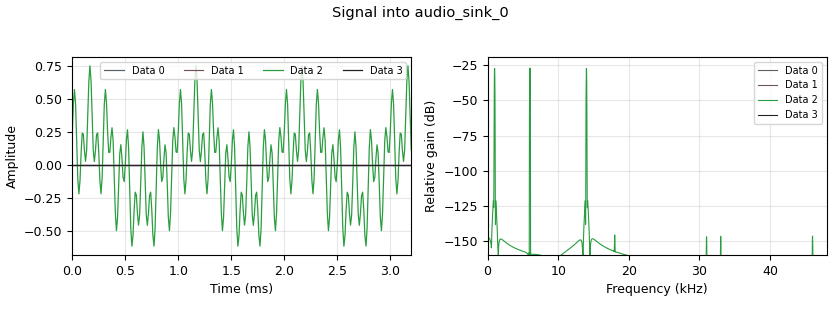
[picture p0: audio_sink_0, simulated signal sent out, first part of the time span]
<?xml version='1.0' encoding='utf-8'?>
<?grc format='1' created='3.7.13'?>
<flow_graph>
<block>
<key>options</key>
<param><key>id</key><value>phadiff_measure_gui</value></param>
<param><key>generate_options</key><value>qt_gui</value></param>
</block>
<block>
<key>variable_qtgui_chooser</key>
<param><key>id</key><value>PRI_CH</value></param>
<param><key>value</key><value>0</value></param>
<param><key>gui_hint</key><value>0,0,1,1</value></param>
<param><key>label0</key><value>Left</value></param>
<param><key>label1</key><value>Right</value></param>
<param><key>label</key><value>Measurement channel</value></param>
<param><key>num_opts</key><value>2</value></param>
<param><key>option0</key><value>0</value></param>
<param><key>option1</key><value>1</value></param>
<param><key>type</key><value>int</value></param>
</block>
<block>
<key>variable_qtgui_range</key>
<param><key>id</key><value>calc_len</value></param>
<param><key>value</key><value>256</value></param>
<param><key>gui_hint</key><value>1,0,1,3</value></param>
<param><key>label</key><value>Calc Len</value></param>
<param><key>orient</key><value>Qt.Horizontal</value></param>
<param><key>start</key><value>16</value></param>
<param><key>step</key><value>8</value></param>
<param><key>stop</key><value>2048</value></param>
<param><key>rangeType</key><value>int</value></param>
</block>
<block>
<key>variable</key>
<param><key>id</key><value>fvec</value></param>
<param><key>value</key><value>[1000., 6000., 14000]</value></param>
</block>
<block>
<key>variable_qtgui_range</key>
<param><key>id</key><value>gui_bal</value></param>
<param><key>value</key><value>0</value></param>
<param><key>gui_hint</key><value>4,0,1,3</value></param>
<param><key>label</key><value>Balance</value></param>
<param><key>orient</key><value>Qt.Horizontal</value></param>
<param><key>start</key><value>0</value></param>
<param><key>step</key><value>.5</value></param>
<param><key>stop</key><value>30</value></param>
</block>
<block>
<key>variable_qtgui_range</key>
<param><key>id</key><value>gui_comp</value></param>
<param><key>value</key><value>0</value></param>
<param><key>gui_hint</key><value>3,0,1,3</value></param>
<param><key>label</key><value>Digital Gain [dB]</value></param>
<param><key>orient</key><value>Qt.Horizontal</value></param>
<param><key>start</key><value>-20</value></param>
<param><key>step</key><value>.1</value></param>
<param><key>stop</key><value>20</value></param>
</block>
<block>
<key>variable_qtgui_range</key>
<param><key>id</key><value>gui_fc</value></param>
<param><key>value</key><value>3000</value></param>
<param><key>gui_hint</key><value>2,0,1,3</value></param>
<param><key>label</key><value>Center freq</value></param>
<param><key>orient</key><value>Qt.Horizontal</value></param>
<param><key>start</key><value>0</value></param>
<param><key>step</key><value>100</value></param>
<param><key>stop</key><value>24000</value></param>
</block>
<block>
<key>variable</key>
<param><key>id</key><value>neps</value></param>
<param><key>value</key><value>21</value></param>
</block>
<block>
<key>variable</key>
<param><key>id</key><value>samp_rate</value></param>
<param><key>value</key><value>96000</value></param>
</block>
<block>
<key>analog_sig_source_x</key>
<param><key>id</key><value>analog_sig_source_x_0</value></param>
<param><key>amp</key><value>.25</value></param>
<param><key>freq</key><value>fvec[0]</value></param>
<param><key>offset</key><value>0</value></param>
<param><key>type</key><value>float</value></param>
<param><key>samp_rate</key><value>samp_rate</value></param>
<param><key>waveform</key><value>analog.GR_COS_WAVE</value></param>
</block>
<block>
<key>analog_sig_source_x</key>
<param><key>id</key><value>analog_sig_source_x_0_0</value></param>
<param><key>amp</key><value>.25</value></param>
<param><key>freq</key><value>fvec[1]</value></param>
<param><key>offset</key><value>0</value></param>
<param><key>type</key><value>float</value></param>
<param><key>samp_rate</key><value>samp_rate</value></param>
<param><key>waveform</key><value>analog.GR_COS_WAVE</value></param>
</block>
<block>
<key>analog_sig_source_x</key>
<param><key>id</key><value>analog_sig_source_x_0_0_0</value></param>
<param><key>amp</key><value>.25</value></param>
<param><key>freq</key><value>fvec[2]</value></param>
<param><key>offset</key><value>0</value></param>
<param><key>type</key><value>float</value></param>
<param><key>samp_rate</key><value>samp_rate</value></param>
<param><key>waveform</key><value>analog.GR_COS_WAVE</value></param>
</block>
<block>
<key>audio_sink</key>
<param><key>id</key><value>audio_sink_0</value></param>
<param><key>device_name</key><value>hw:USB,0</value></param>
<param><key>num_inputs</key><value>4</value></param>
<param><key>samp_rate</key><value>samp_rate</value></param>
</block>
<block>
<key>audio_source</key>
<param><key>id</key><value>audio_source_0</value></param>
<param><key>device_name</key><value>hw:USB,0</value></param>
<param><key>num_outputs</key><value>2</value></param>
<param><key>samp_rate</key><value>samp_rate</value></param>
</block>
<block>
<key>blocks_add_const_vxx</key>
<param><key>id</key><value>blocks_add_const_vxx_0</value></param>
<param><key>const</key><value>-(neps-1)/2</value></param>
<param><key>_enabled</key><value>0</value></param>
<param><key>type</key><value>int</value></param>
</block>
<block>
<key>blocks_add_xx</key>
<param><key>id</key><value>blocks_add_xx_0</value></param>
<param><key>type</key><value>float</value></param>
<param><key>num_inputs</key><value>len(fvec)</value></param>
</block>
<block>
<key>blocks_complex_to_mag</key>
<param><key>id</key><value>blocks_complex_to_mag_0_0</value></param>
<param><key>vlen</key><value>len(fvec)</value></param>
</block>
<block>
<key>blocks_divide_xx</key>
<param><key>id</key><value>blocks_divide_xx_0</value></param>
<param><key>_enabled</key><value>0</value></param>
<param><key>type</key><value>float</value></param>
</block>
<block>
<key>blocks_int_to_float</key>
<param><key>id</key><value>blocks_int_to_float_0</value></param>
<param><key>_enabled</key><value>0</value></param>
<param><key>scale</key><value>1</value></param>
</block>
<block>
<key>blocks_multiply_const_vxx</key>
<param><key>id</key><value>blocks_multiply_const_vxx_0</value></param>
<param><key>const</key><value>not PRI_CH</value></param>
<param><key>type</key><value>float</value></param>
</block>
<block>
<key>blocks_multiply_const_vxx</key>
<param><key>id</key><value>blocks_multiply_const_vxx_0_0</value></param>
<param><key>const</key><value>PRI_CH</value></param>
<param><key>type</key><value>float</value></param>
</block>
<block>
<key>blocks_multiply_const_xx</key>
<param><key>id</key><value>blocks_multiply_const_xx_0</value></param>
<param><key>const</key><value>10**((gui_comp+PRI_CH*gui_bal)*.1)</value></param>
<param><key>type</key><value>float</value></param>
</block>
<block>
<key>blocks_multiply_const_xx</key>
<param><key>id</key><value>blocks_multiply_const_xx_0_0</value></param>
<param><key>const</key><value>10**((gui_comp+(not PRI_CH)*gui_bal)*.1)</value></param>
<param><key>type</key><value>float</value></param>
</block>
<block>
<key>blocks_nlog10_ff</key>
<param><key>id</key><value>blocks_nlog10_ff_0</value></param>
<param><key>_enabled</key><value>0</value></param>
<param><key>k</key><value>0</value></param>
<param><key>n</key><value>10</value></param>
</block>
<block>
<key>blocks_nlog10_ff</key>
<param><key>id</key><value>blocks_nlog10_ff_0_0</value></param>
<param><key>_enabled</key><value>0</value></param>
<param><key>k</key><value>0</value></param>
<param><key>n</key><value>10</value></param>
</block>
<block>
<key>blocks_nlog10_ff</key>
<param><key>id</key><value>blocks_nlog10_ff_0_0_0</value></param>
<param><key>_enabled</key><value>0</value></param>
<param><key>k</key><value>0</value></param>
<param><key>n</key><value>-10</value></param>
</block>
<block>
<key>blocks_nlog10_ff</key>
<param><key>id</key><value>blocks_nlog10_ff_0_0_0_0</value></param>
<param><key>vlen</key><value>len(fvec)</value></param>
<param><key>k</key><value>0</value></param>
<param><key>n</key><value>10</value></param>
</block>
<block>
<key>blocks_null_sink</key>
<param><key>id</key><value>blocks_null_sink_0</value></param>
<param><key>bus_conns</key><value>[[0,],]</value></param>
<param><key>type</key><value>float</value></param>
<param><key>vlen</key><value>len(fvec)</value></param>
</block>
<block>
<key>blocks_null_source</key>
<param><key>id</key><value>blocks_null_source_0</value></param>
<param><key>bus_conns</key><value>[[0,],]</value></param>
<param><key>type</key><value>float</value></param>
</block>
<block>
<key>blocks_stream_to_vector_decimator</key>
<param><key>id</key><value>blocks_stream_to_vector_decimator_0</value></param>
<param><key>_enabled</key><value>2</value></param>
<param><key>type</key><value>float</value></param>
<param><key>sample_rate</key><value>samp_rate</value></param>
<param><key>vlen</key><value>calc_len</value></param>
<param><key>vec_rate</key><value>100</value></param>
</block>
<block>
<key>blocks_stream_to_vector_decimator</key>
<param><key>id</key><value>blocks_stream_to_vector_decimator_0_0</value></param>
<param><key>_enabled</key><value>0</value></param>
<param><key>type</key><value>float</value></param>
<param><key>sample_rate</key><value>samp_rate</value></param>
<param><key>vlen</key><value>calc_len</value></param>
<param><key>vec_rate</key><value>10</value></param>
</block>
<block>
<key>blocks_stream_to_vector_decimator</key>
<param><key>id</key><value>blocks_stream_to_vector_decimator_0_1</value></param>
<param><key>_enabled</key><value>2</value></param>
<param><key>type</key><value>float</value></param>
<param><key>sample_rate</key><value>samp_rate</value></param>
<param><key>vlen</key><value>calc_len</value></param>
<param><key>vec_rate</key><value>100</value></param>
</block>
<block>
<key>blocks_vector_to_stream</key>
<param><key>id</key><value>blocks_vector_to_stream_0</value></param>
<param><key>_enabled</key><value>2</value></param>
<param><key>type</key><value>float</value></param>
<param><key>num_items</key><value>calc_len</value></param>
</block>
<block>
<key>blocks_vector_to_stream</key>
<param><key>id</key><value>blocks_vector_to_stream_0_0</value></param>
<param><key>_enabled</key><value>0</value></param>
<param><key>type</key><value>float</value></param>
<param><key>num_items</key><value>calc_len</value></param>
</block>
<block>
<key>blocks_vector_to_stream</key>
<param><key>id</key><value>blocks_vector_to_stream_0_1</value></param>
<param><key>_enabled</key><value>2</value></param>
<param><key>type</key><value>float</value></param>
<param><key>num_items</key><value>calc_len</value></param>
</block>
<block>
<key>blocks_vector_to_streams</key>
<param><key>id</key><value>blocks_vector_to_streams_0_0</value></param>
<param><key>_enabled</key><value>0</value></param>
<param><key>type</key><value>float</value></param>
<param><key>num_streams</key><value>len(fvec)</value></param>
</block>
<block>
<key>blocks_vector_to_streams</key>
<param><key>id</key><value>blocks_vector_to_streams_0_0_0</value></param>
<param><key>_enabled</key><value>0</value></param>
<param><key>type</key><value>float</value></param>
<param><key>num_streams</key><value>len(fvec)</value></param>
</block>
<block>
<key>import</key>
<param><key>id</key><value>import_0</value></param>
<param><key>import</key><value>import numpy as np</value></param>
</block>
<block>
<key>qtgui_freq_sink_x</key>
<param><key>id</key><value>qtgui_freq_sink_x_0</value></param>
<param><key>bw</key><value>samp_rate</value></param>
<param><key>fc</key><value>0</value></param>
<param><key>fftsize</key><value>1024</value></param>
<param><key>gui_hint</key><value>tab@1</value></param>
<param><key>grid</key><value>True</value></param>
<param><key>label1</key><value>LEFT</value></param>
<param><key>label2</key><value>RIGHT</value></param>
<param><key>nconnections</key><value>2</value></param>
<param><key>showports</key><value>True</value></param>
<param><key>freqhalf</key><value>False</value></param>
<param><key>type</key><value>float</value></param>
<param><key>update_time</key><value>.25</value></param>
<param><key>wintype</key><value>firdes.WIN_BLACKMAN_hARRIS</value></param>
</block>
<block>
<key>qtgui_freq_sink_x</key>
<param><key>id</key><value>qtgui_freq_sink_x_0_0</value></param>
<param><key>bw</key><value>samp_rate/calc_len</value></param>
<param><key>fc</key><value>0</value></param>
<param><key>_enabled</key><value>0</value></param>
<param><key>fftsize</key><value>256</value></param>
<param><key>gui_hint</key><value>tab@3</value></param>
<param><key>grid</key><value>True</value></param>
<param><key>label1</key><value>LEFT</value></param>
<param><key>showports</key><value>True</value></param>
<param><key>freqhalf</key><value>False</value></param>
<param><key>type</key><value>float</value></param>
<param><key>update_time</key><value>.25</value></param>
<param><key>wintype</key><value>firdes.WIN_BLACKMAN_hARRIS</value></param>
</block>
<block>
<key>qtgui_number_sink</key>
<param><key>id</key><value>qtgui_number_sink_0</value></param>
<param><key>_enabled</key><value>0</value></param>
<param><key>gui_hint</key><value>0,3,1,2</value></param>
<param><key>graph_type</key><value>qtgui.NUM_GRAPH_VERT</value></param>
<param><key>type</key><value>float</value></param>
<param><key>label1</key><value>LOW</value></param>
<param><key>label2</key><value>HIGH</value></param>
<param><key>label3</key><value>DIFF</value></param>
<param><key>max</key><value>0</value></param>
<param><key>min</key><value>-40</value></param>
<param><key>name</key><value>"Amplitude"</value></param>
<param><key>nconnections</key><value>3</value></param>
</block>
<block>
<key>qtgui_number_sink</key>
<param><key>id</key><value>qtgui_number_sink_0_1</value></param>
<param><key>_enabled</key><value>0</value></param>
<param><key>gui_hint</key><value>1,3,2,2</value></param>
<param><key>graph_type</key><value>qtgui.NUM_GRAPH_VERT</value></param>
<param><key>type</key><value>float</value></param>
<param><key>label1</key><value>LOW</value></param>
<param><key>label2</key><value>HIGH</value></param>
<param><key>max</key><value>20000</value></param>
<param><key>min</key><value>0</value></param>
<param><key>name</key><value>"Freq"</value></param>
<param><key>nconnections</key><value>2</value></param>
</block>
<block>
<key>qtgui_time_sink_x</key>
<param><key>id</key><value>qtgui_time_sink_x_0</value></param>
<param><key>gui_hint</key><value>tab@0</value></param>
<param><key>color1</key><value>"blue"</value></param>
<param><key>label1</key><value>LEFT</value></param>
<param><key>color2</key><value>"red"</value></param>
<param><key>label2</key><value>RIGHT</value></param>
<param><key>name</key><value>"TIME"</value></param>
<param><key>nconnections</key><value>2</value></param>
<param><key>size</key><value>calc_len</value></param>
<param><key>srate</key><value>1</value></param>
<param><key>type</key><value>float</value></param>
<param><key>update_time</key><value>1</value></param>
</block>
<block>
<key>qtgui_time_sink_x</key>
<param><key>id</key><value>qtgui_time_sink_x_0_0</value></param>
<param><key>gui_hint</key><value>tab@2</value></param>
<param><key>color1</key><value>"blue"</value></param>
<param><key>label1</key><value>LEFT</value></param>
<param><key>name</key><value>"epsilon"</value></param>
<param><key>size</key><value>calc_len</value></param>
<param><key>srate</key><value>samp_rate/calc_len</value></param>
<param><key>type</key><value>float</value></param>
<param><key>update_time</key><value>1</value></param>
<param><key>ylabel</key><value>units</value></param>
<param><key>ymax</key><value>6</value></param>
<param><key>ymin</key><value>-6</value></param>
</block>
<block>
<key>qtgui_vector_sink_f</key>
<param><key>id</key><value>qtgui_vector_sink_f_0</value></param>
<param><key>gui_hint</key><value>tab@4</value></param>
<param><key>showports</key><value>True</value></param>
<param><key>vlen</key><value>len(fvec)</value></param>
<param><key>x_start</key><value>0</value></param>
<param><key>x_step</key><value>1.0</value></param>
<param><key>ymin</key><value>-10</value></param>
</block>
<block>
<key>shfcc_ncosest_fc</key>
<param><key>id</key><value>shfcc_ncosest_fc_0</value></param>
<param><key>calc_len</key><value>calc_len</value></param>
<param><key>eps_abs</key><value>.006</value></param>
<param><key>freqs</key><value>fvec</value></param>
<param><key>neps</key><value>neps</value></param>
<param><key>fs</key><value>samp_rate</value></param>
</block>
<block>
<key>qtgui_tab_widget</key>
<param><key>id</key><value>tab</value></param>
<param><key>gui_hint</key><value>3,3,2,2</value></param>
<param><key>label0</key><value>Time</value></param>
<param><key>label1</key><value>Freq</value></param>
<param><key>label2</key><value>epsilon</value></param>
<param><key>label3</key><value>FFT epsilon</value></param>
<param><key>label4</key><value>Amps</value></param>
<param><key>num_tabs</key><value>5</value></param>
</block>
<block>
<key>virtual_sink</key>
<param><key>id</key><value>virtual_sink_0</value></param>
<param><key>stream_id</key><value>sig</value></param>
</block>
<block>
<key>virtual_source</key>
<param><key>id</key><value>virtual_source_0</value></param>
<param><key>stream_id</key><value>sig</value></param>
</block>
<connection><source_block_id>analog_sig_source_x_0</source_block_id><sink_block_id>blocks_add_xx_0</sink_block_id><source_key>0</source_key><sink_key>0</sink_key></connection>
<connection><source_block_id>analog_sig_source_x_0_0</source_block_id><sink_block_id>blocks_add_xx_0</sink_block_id><source_key>0</source_key><sink_key>1</sink_key></connection>
<connection><source_block_id>analog_sig_source_x_0_0_0</source_block_id><sink_block_id>blocks_add_xx_0</sink_block_id><source_key>0</source_key><sink_key>2</sink_key></connection>
<connection><source_block_id>audio_source_0</source_block_id><sink_block_id>blocks_stream_to_vector_decimator_0</sink_block_id><source_key>0</source_key><sink_key>0</sink_key></connection>
<connection><source_block_id>audio_source_0</source_block_id><sink_block_id>blocks_stream_to_vector_decimator_0_1</sink_block_id><source_key>1</source_key><sink_key>0</sink_key></connection>
<connection><source_block_id>blocks_add_const_vxx_0</source_block_id><sink_block_id>blocks_int_to_float_0</sink_block_id><source_key>0</source_key><sink_key>0</sink_key></connection>
<connection><source_block_id>blocks_add_xx_0</source_block_id><sink_block_id>virtual_sink_0</sink_block_id><source_key>0</source_key><sink_key>0</sink_key></connection>
<connection><source_block_id>blocks_complex_to_mag_0_0</source_block_id><sink_block_id>blocks_nlog10_ff_0_0_0_0</sink_block_id><source_key>0</source_key><sink_key>0</sink_key></connection>
<connection><source_block_id>blocks_complex_to_mag_0_0</source_block_id><sink_block_id>blocks_vector_to_streams_0_0_0</sink_block_id><source_key>0</source_key><sink_key>0</sink_key></connection>
<connection><source_block_id>blocks_divide_xx_0</source_block_id><sink_block_id>blocks_nlog10_ff_0_0_0</sink_block_id><source_key>0</source_key><sink_key>0</sink_key></connection>
<connection><source_block_id>blocks_int_to_float_0</source_block_id><sink_block_id>qtgui_time_sink_x_0_0</sink_block_id><source_key>0</source_key><sink_key>0</sink_key></connection>
<connection><source_block_id>blocks_multiply_const_vxx_0</source_block_id><sink_block_id>audio_sink_0</sink_block_id><source_key>0</source_key><sink_key>2</sink_key></connection>
<connection><source_block_id>blocks_multiply_const_vxx_0_0</source_block_id><sink_block_id>audio_sink_0</sink_block_id><source_key>0</source_key><sink_key>3</sink_key></connection>
<connection><source_block_id>blocks_multiply_const_xx_0</source_block_id><sink_block_id>qtgui_freq_sink_x_0</sink_block_id><source_key>0</source_key><sink_key>0</sink_key></connection>
<connection><source_block_id>blocks_multiply_const_xx_0</source_block_id><sink_block_id>qtgui_time_sink_x_0</sink_block_id><source_key>0</source_key><sink_key>0</sink_key></connection>
<connection><source_block_id>blocks_multiply_const_xx_0</source_block_id><sink_block_id>shfcc_ncosest_fc_0</sink_block_id><source_key>0</source_key><sink_key>0</sink_key></connection>
<connection><source_block_id>blocks_multiply_const_xx_0_0</source_block_id><sink_block_id>qtgui_freq_sink_x_0</sink_block_id><source_key>0</source_key><sink_key>1</sink_key></connection>
<connection><source_block_id>blocks_multiply_const_xx_0_0</source_block_id><sink_block_id>qtgui_time_sink_x_0</sink_block_id><source_key>0</source_key><sink_key>1</sink_key></connection>
<connection><source_block_id>blocks_nlog10_ff_0</source_block_id><sink_block_id>qtgui_number_sink_0</sink_block_id><source_key>0</source_key><sink_key>0</sink_key></connection>
<connection><source_block_id>blocks_nlog10_ff_0_0</source_block_id><sink_block_id>qtgui_number_sink_0</sink_block_id><source_key>0</source_key><sink_key>1</sink_key></connection>
<connection><source_block_id>blocks_nlog10_ff_0_0_0</source_block_id><sink_block_id>qtgui_number_sink_0</sink_block_id><source_key>0</source_key><sink_key>2</sink_key></connection>
<connection><source_block_id>blocks_nlog10_ff_0_0_0_0</source_block_id><sink_block_id>qtgui_vector_sink_f_0</sink_block_id><source_key>0</source_key><sink_key>0</sink_key></connection>
<connection><source_block_id>blocks_null_source_0</source_block_id><sink_block_id>audio_sink_0</sink_block_id><source_key>0</source_key><sink_key>0</sink_key></connection>
<connection><source_block_id>blocks_null_source_0</source_block_id><sink_block_id>audio_sink_0</sink_block_id><source_key>0</source_key><sink_key>1</sink_key></connection>
<connection><source_block_id>blocks_stream_to_vector_decimator_0</source_block_id><sink_block_id>blocks_vector_to_stream_0</sink_block_id><source_key>0</source_key><sink_key>0</sink_key></connection>
<connection><source_block_id>blocks_stream_to_vector_decimator_0_0</source_block_id><sink_block_id>blocks_vector_to_stream_0_0</sink_block_id><source_key>0</source_key><sink_key>0</sink_key></connection>
<connection><source_block_id>blocks_stream_to_vector_decimator_0_1</source_block_id><sink_block_id>blocks_vector_to_stream_0_1</sink_block_id><source_key>0</source_key><sink_key>0</sink_key></connection>
<connection><source_block_id>blocks_vector_to_stream_0</source_block_id><sink_block_id>blocks_multiply_const_xx_0</sink_block_id><source_key>0</source_key><sink_key>0</sink_key></connection>
<connection><source_block_id>blocks_vector_to_stream_0_1</source_block_id><sink_block_id>blocks_multiply_const_xx_0_0</sink_block_id><source_key>0</source_key><sink_key>0</sink_key></connection>
<connection><source_block_id>blocks_vector_to_streams_0_0</source_block_id><sink_block_id>qtgui_number_sink_0_1</sink_block_id><source_key>0</source_key><sink_key>0</sink_key></connection>
<connection><source_block_id>blocks_vector_to_streams_0_0</source_block_id><sink_block_id>qtgui_number_sink_0_1</sink_block_id><source_key>1</source_key><sink_key>1</sink_key></connection>
<connection><source_block_id>blocks_vector_to_streams_0_0_0</source_block_id><sink_block_id>blocks_divide_xx_0</sink_block_id><source_key>0</source_key><sink_key>0</sink_key></connection>
<connection><source_block_id>blocks_vector_to_streams_0_0_0</source_block_id><sink_block_id>blocks_nlog10_ff_0</sink_block_id><source_key>0</source_key><sink_key>0</sink_key></connection>
<connection><source_block_id>blocks_vector_to_streams_0_0_0</source_block_id><sink_block_id>blocks_divide_xx_0</sink_block_id><source_key>1</source_key><sink_key>1</sink_key></connection>
<connection><source_block_id>blocks_vector_to_streams_0_0_0</source_block_id><sink_block_id>blocks_nlog10_ff_0_0</sink_block_id><source_key>1</source_key><sink_key>0</sink_key></connection>
<connection><source_block_id>shfcc_ncosest_fc_0</source_block_id><sink_block_id>blocks_complex_to_mag_0_0</sink_block_id><source_key>1</source_key><sink_key>0</sink_key></connection>
<connection><source_block_id>shfcc_ncosest_fc_0</source_block_id><sink_block_id>blocks_add_const_vxx_0</sink_block_id><source_key>2</source_key><sink_key>0</sink_key></connection>
<connection><source_block_id>shfcc_ncosest_fc_0</source_block_id><sink_block_id>qtgui_freq_sink_x_0_0</sink_block_id><source_key>2</source_key><sink_key>0</sink_key></connection>
<connection><source_block_id>shfcc_ncosest_fc_0</source_block_id><sink_block_id>qtgui_time_sink_x_0_0</sink_block_id><source_key>2</source_key><sink_key>0</sink_key></connection>
<connection><source_block_id>shfcc_ncosest_fc_0</source_block_id><sink_block_id>blocks_null_sink_0</sink_block_id><source_key>0</source_key><sink_key>0</sink_key></connection>
<connection><source_block_id>shfcc_ncosest_fc_0</source_block_id><sink_block_id>blocks_vector_to_streams_0_0</sink_block_id><source_key>0</source_key><sink_key>0</sink_key></connection>
<connection><source_block_id>virtual_source_0</source_block_id><sink_block_id>blocks_multiply_const_vxx_0</sink_block_id><source_key>0</source_key><sink_key>0</sink_key></connection>
<connection><source_block_id>virtual_source_0</source_block_id><sink_block_id>blocks_multiply_const_vxx_0_0</sink_block_id><source_key>0</source_key><sink_key>0</sink_key></connection>
</flow_graph>
